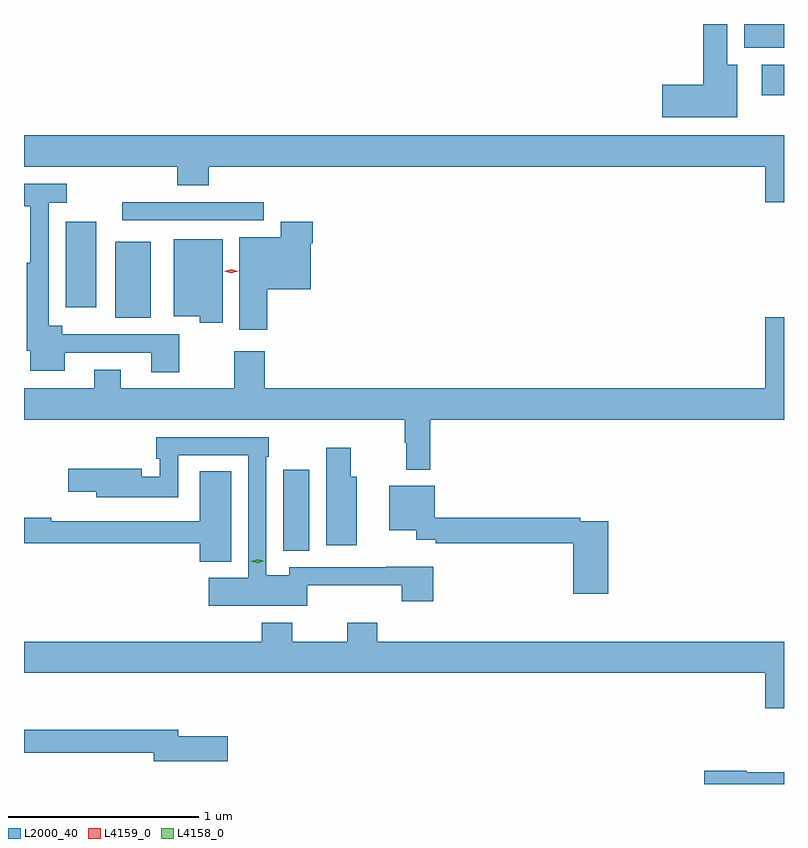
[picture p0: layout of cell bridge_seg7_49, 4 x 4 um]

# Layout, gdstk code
import gdstk
lib = gdstk.Library(unit=1e-6, precision=1e-09)
def R(c, l, rs):  # rectangles x0, y0, x1, y1
    for r in rs: c.add(gdstk.rectangle(r[:2], r[2:], *l))
def P(c, l, *ps):  # polygons
    for p in ps: c.add(gdstk.Polygon(p, *l))
L2000_40 = (2000, 40)
L4158_0 = (4158, 0)
L4159_0 = (4159, 0)

bridge_seg7_49 = lib.new_cell('bridge_seg7_49')
R(bridge_seg7_49, L2000_40, [(953.681,1033.225,953.818,1033.651), (952.796,1034.453,952.984,1034.851), (952.535,1034.507,952.696,1034.956), (952.833,1034.964,953.578,1035.06), (956.199,1035.624,956.316,1035.783), (956.108,1035.872,956.316,1035.998)])
P(bridge_seg7_49, L2000_40, [(956.071,1035.784),(956.017,1035.784),(956.017,1035.998),(955.892,1035.998),(955.892,1035.677),(955.674,1035.677),(955.674,1035.506),(956.071,1035.506)],
  [(956.316,1035.412),(952.316,1035.412),(952.316,1035.248),(953.123,1035.248),(953.123,1035.149),(953.288,1035.149),(953.288,1035.248),(956.216,1035.248),(956.216,1035.06),(956.316,1035.06)],
  [(953.133,1034.364),(952.516,1034.364),(952.516,1034.41),(952.446,1034.41),(952.446,1035.056),(952.54,1035.056),(952.54,1035.156),(952.316,1035.156),(952.316,1035.04),(952.35,1035.04),(952.35,1034.741),(952.33,1034.741),(952.33,1034.278),(952.349,1034.278),(952.349,1034.174),(952.531,1034.174),(952.531,1034.268),(952.985,1034.268),(952.985,1034.166),(953.133,1034.166)],
  [(953.597,1034.603),(953.824,1034.603),(953.824,1034.843),(953.837,1034.843),(953.837,1034.956),(953.666,1034.956),(953.666,1034.875),(953.45,1034.875),(953.45,1034.388),(953.597,1034.388)],
  [(953.362,1034.866),(953.105,1034.866),(953.105,1034.459),(953.24,1034.459),(953.24,1034.426),(953.362,1034.426)],
  [(954.455,1033.916),(956.316,1033.916),(956.316,1034.455),(956.216,1034.455),(956.216,1034.08),(953.582,1034.08),(953.582,1034.275),(953.422,1034.275),(953.422,1034.08),(952.825,1034.08),(952.825,1034.179),(952.685,1034.179),(952.685,1034.08),(952.316,1034.08),(952.316,1033.916),(954.319,1033.916),(954.319,1033.793),(954.327,1033.793),(954.327,1033.653),(954.455,1033.653)],
  [(953.808,1033.043),(954.305,1033.043),(954.305,1032.96),(954.47,1032.96),(954.47,1033.142),(954.221,1033.142),(954.221,1033.14),(953.712,1033.14),(953.712,1033.096),(953.592,1033.096),(953.592,1033.721),(953.605,1033.721),(953.605,1033.824),(953.011,1033.824),(953.011,1033.71),(953.031,1033.71),(953.031,1033.615),(952.936,1033.615),(952.936,1033.657),(952.548,1033.657),(952.548,1033.535),(952.697,1033.535),(952.697,1033.506),(953.127,1033.506),(953.127,1033.728),(953.496,1033.728),(953.496,1033.084),(953.289,1033.084),(953.289,1032.935),(953.808,1032.935)],
  [(954.067,1033.615),(954.036,1033.615),(954.036,1033.768),(953.906,1033.768),(953.906,1033.254),(954.067,1033.254)],
  [(953.407,1033.643),(953.24,1033.643),(953.24,1033.38),(952.46,1033.38),(952.46,1033.4),(952.316,1033.4),(952.316,1033.264),(953.24,1033.264),(953.24,1033.169),(953.407,1033.169)],
  [(955.391,1033.38),(955.244,1033.38),(955.244,1033.4),(954.477,1033.4),(954.477,1033.567),(954.239,1033.567),(954.239,1033.334),(954.381,1033.334),(954.381,1033.283),(954.484,1033.283),(954.484,1033.264),(955.208,1033.264),(955.208,1032.999),(955.391,1032.999)],
  [(956.316,1032.748),(954.176,1032.748),(954.176,1032.847),(954.016,1032.847),(954.016,1032.748),(953.727,1032.748),(953.727,1032.847),(953.567,1032.847),(953.567,1032.748),(952.316,1032.748),(952.316,1032.584),(956.216,1032.584),(956.216,1032.396),(956.316,1032.396)],
  [(953.389,1032.249),(953.128,1032.249),(953.128,1032.283),(952.316,1032.283),(952.316,1032.162),(953,1032.162),(953,1032.119),(953.389,1032.119)],
  [(956.316,1032.061),(956.12,1032.061),(956.12,1032.068),(955.897,1032.068),(955.897,1031.998),(956.316,1031.998)])
P(bridge_seg7_49, L4158_0, [(953.545,1033.161),(953.51,1033.17),(953.51,1033.17),(953.51,1033.17),(953.544,1033.181),(953.579,1033.173),(953.58,1033.172),(953.579,1033.172)])
P(bridge_seg7_49, L4159_0, [(953.406,1034.686),(953.37,1034.696),(953.37,1034.696),(953.37,1034.696),(953.406,1034.706),(953.442,1034.696),(953.443,1034.696),(953.442,1034.696)])

lib.write_gds('bridge_seg7_49.gds')
